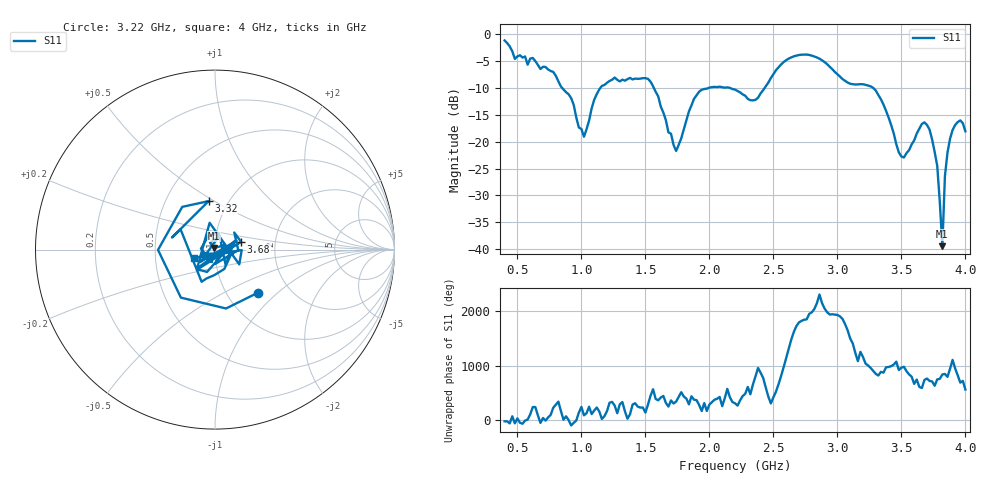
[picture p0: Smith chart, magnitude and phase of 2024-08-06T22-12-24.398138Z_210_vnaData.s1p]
!Created with skrf (http://scikit-rf.org).
# Hz S RI R 50.0
!freq ReS11 ImS11
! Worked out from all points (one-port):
!   181 points, 400 MHz to 4 GHz, reference 50 ohm
!   lowest |S11| = -39.4 dB at 3.82 GHz (marker M1), VSWR 1.02, Z = 49.5 + j0.937 ohm
!   |S11| at or under -10 dB: 850.7 MHz to 1.147 GHz (296.7 MHz wide, 29.7 % of centre); 1.567 GHz to 1.991 GHz (424.1 MHz wide, 23.8 % of centre); 3.281 GHz to end of sweep (the widest 3 of 4)
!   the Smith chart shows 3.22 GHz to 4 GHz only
!   S11 on the Smith chart (normalised r, x): 3.22 GHz: 1.39, -0.75; 3.32 GHz: 0.81, +0.47; 3.68 GHz: 1.33, +0.12; 4 GHz: 0.79, -0.07
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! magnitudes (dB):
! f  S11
! 400 MHz  -1.1
! 480 MHz  -4.6
! 620 MHz  -4.4
! 860 MHz  -10.3
! 1.02 GHz  -19.1
! 1.14 GHz  -10.2
! 1.3 GHz  -8.8
! 1.52 GHz  -8.3
! 1.74 GHz  -21.7
! 1.76 GHz  -20.6
! 1.92 GHz  -10.7
! 2.2 GHz  -10.3
! 2.36 GHz  -12.2
! 2.66 GHz  -4.1
! 2.86 GHz  -4.5
! 3.1 GHz  -9.2
! 3.22 GHz  -9.4
! 3.32 GHz  -11.3
! 3.48 GHz  -22.0
! 3.56 GHz  -21.6
! 3.68 GHz  -16.4
! 3.72 GHz  -17.7
! 3.78 GHz  -24.5
! 3.82 GHz  -39.4
! 3.84 GHz  -26.4
! 3.88 GHz  -19.4
! 3.96 GHz  -16.0
! 4 GHz  -18.1
